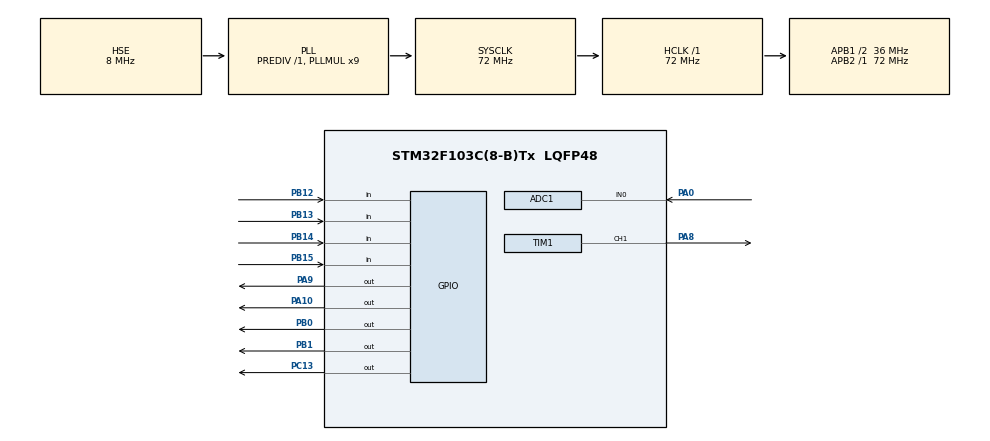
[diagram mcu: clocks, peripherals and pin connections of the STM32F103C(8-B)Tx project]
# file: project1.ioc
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ADC1.Channel-0\#ChannelRegularConversion=ADC_CHANNEL_0
ADC1.NbrOfConversionFlag=1
ADC1.Rank-0\#ChannelRegularConversion=1
ADC1.SamplingTime-0\#ChannelRegularConversion=ADC_SAMPLETIME_1CYCLE_5
ADC1.master=1
Mcu.Family=STM32F1
Mcu.Name=STM32F103C(8-B)Tx
Mcu.Package=LQFP48
NVIC.PriorityGroup=NVIC_PRIORITYGROUP_4
NVIC.TIM2_IRQn=true\:0\:0\:false\:false\:true\:true\:true\:true
PA0-WKUP.Signal=ADCx_IN0
PA10.GPIO_PuPd=GPIO_PULLDOWN
PA10.PinState=GPIO_PIN_RESET
PA10.Signal=GPIO_Output
PA13.Mode=Serial_Wire
PA13.Signal=SYS_JTMS-SWDIO
PA14.Mode=Serial_Wire
PA14.Signal=SYS_JTCK-SWCLK
PA8.Signal=S_TIM1_CH1
PA9.GPIO_PuPd=GPIO_PULLDOWN
PA9.PinState=GPIO_PIN_SET
PA9.Signal=GPIO_Output
PB0.GPIO_ModeDefaultOutputPP=GPIO_MODE_OUTPUT_OD
PB0.GPIO_PuPd=GPIO_NOPULL
PB0.Signal=GPIO_Output
PB1.GPIO_ModeDefaultOutputPP=GPIO_MODE_OUTPUT_OD
PB1.GPIO_PuPd=GPIO_NOPULL
PB1.Signal=GPIO_Output
PB12.GPIO_PuPd=GPIO_PULLUP
PB12.Signal=GPIO_Input
PB13.GPIO_PuPd=GPIO_PULLUP
PB13.Signal=GPIO_Input
PB14.GPIO_PuPd=GPIO_PULLUP
PB14.Signal=GPIO_Input
PB15.GPIO_PuPd=GPIO_PULLUP
PB15.Signal=GPIO_Input
PC13-TAMPER-RTC.GPIO_PuPd=GPIO_PULLUP
PC13-TAMPER-RTC.PinState=GPIO_PIN_RESET
PC13-TAMPER-RTC.Signal=GPIO_Output
PD0-OSC_IN.Mode=HSE-External-Oscillator
PD0-OSC_IN.Signal=RCC_OSC_IN
PD1-OSC_OUT.Mode=HSE-External-Oscillator
PD1-OSC_OUT.Signal=RCC_OSC_OUT
ProjectManager.HeapSize=0x200
ProjectManager.StackSize=0x400
ProjectManager.TargetToolchain=STM32CubeIDE
RCC.ADCPresc=RCC_ADCPCLK2_DIV6
RCC.AHBFreq_Value=72000000
RCC.APB1CLKDivider=RCC_HCLK_DIV2
RCC.APB1Freq_Value=36000000
RCC.APB1TimFreq_Value=72000000
RCC.APB2Freq_Value=72000000
RCC.APB2TimFreq_Value=72000000
RCC.HCLKFreq_Value=72000000
RCC.PLLMUL=RCC_PLL_MUL9
RCC.PLLSourceVirtual=RCC_PLLSOURCE_HSE
RCC.SYSCLKFreq_VALUE=72000000
RCC.SYSCLKSource=RCC_SYSCLKSOURCE_PLLCLK
RCC.USBFreq_Value=72000000
SH.ADCx_IN0.0=ADC1_IN0,IN0
SH.S_TIM1_CH1.0=TIM1_CH1,PWM Generation1 CH1
TIM1.AutoReloadPreload=TIM_AUTORELOAD_PRELOAD_ENABLE
TIM1.Channel-PWM\ Generation1\ CH1=TIM_CHANNEL_1
TIM1.Period=99-1
TIM1.Prescaler=72 -1
TIM2.Period=10 -1
TIM2.Prescaler=7200 -1
VP_TIM2_VS_ClockSourceINT.Mode=Internal
board=custom

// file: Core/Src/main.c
/* USER CODE BEGIN Header */
/**
  ******************************************************************************
  * @file           : main.c
  * @brief          : Main program body
  ******************************************************************************
  * @attention
  *
  * Copyright (c) 2024 STMicroelectronics.
  * All rights reserved.
  *
  * This software is licensed under terms that can be found in the LICENSE file
  * in the root directory of this software component.
  * If no LICENSE file comes with this software, it is provided AS-IS.
  *
  ******************************************************************************
  */
/* USER CODE END Header */
#include "main.h"
#include "adc.h"
#include "tim.h"
#include "gpio.h"

/* USER CODE BEGIN Includes */
#include <stdio.h>

#include "OLED.h"
/* USER CODE END Includes */

/* USER CODE BEGIN PV */
struct
{
  double kp;
  double target;

  double kd;
  double err;
  double err_last;

  double ki;
  double inte;
  double inte_max;

  double deadzone;

}PID_data;

char str1[16];
char str2[16];
char str3[16];
char str4[16];
char str5[16];
int16_t test1 ;
float TargetVol;
float CurrentVol;
float CurrentPWM;
float value;
int8_t BuckState;
int8_t ProtectState;
/* USER CODE END PV */

void SystemClock_Config(void);

/* USER CODE BEGIN 0 */
void HAL_TIM_PeriodElapsedCallback(TIM_HandleTypeDef *htim)
{
  //0.001s一次
  if (htim->Instance == TIM2)
  {
    //设置占空比
    __HAL_TIM_SET_COMPARE(&htim1, TIM_CHANNEL_1,CurrentPWM);//左
    //采集电压
    HAL_ADC_Start(&hadc1);
    HAL_ADC_PollForConversion(&hadc1, 1000);
    value = HAL_ADC_GetValue(&hadc1);
    //三元线性拟合
    CurrentVol = 0.812*(value /100)+0.000395*(value /100)*(value /100)-0.0000295*(value /100)*(value /100)*(value /100)+0.5945;

    //误差值计算
    PID_data.err = TargetVol - CurrentVol;
    //判断死区，防乱跳
    if (PID_data.err>=PID_data.deadzone||PID_data.err<=-PID_data.deadzone)
    {
      //使只当激活继电器时调节pid，不然关闭继电器后pwm马上会到最高
      if (ProtectState == 1)
      {
        //增量式pid调节
        CurrentPWM += PID_data.err * PID_data.kp;

      }

    }

    //限幅pwm
    if (CurrentPWM > 98)
    {
      CurrentPWM = 98;
    }
    else if (CurrentPWM < 0)
    {
      CurrentPWM = 0;
    }

    //限幅输出电压，保护adc采集引脚
    if (TargetVol > 33.0f)
    {
      TargetVol = 33.0f;
    }
    else if (TargetVol < 0.0f)
    {
      TargetVol = 0.0f;
    }

    //闪灯（虽然1khz看不出来。。。）
    HAL_GPIO_TogglePin(GPIOC, GPIO_PIN_13);
  }

}
/* USER CODE END 0 */

int main(void)
{

  /* MCU Configuration--------------------------------------------------------*/

  /* Reset of all peripherals, Initializes the Flash interface and the Systick. */
  HAL_Init();

  /* Configure the system clock */
  SystemClock_Config();

  /* Initialize all configured peripherals */
  MX_GPIO_Init();
  MX_TIM1_Init();
  MX_TIM2_Init();
  MX_ADC1_Init();
  /* USER CODE BEGIN 2 */
  HAL_TIM_Base_Start_IT(&htim2);
  HAL_TIM_PWM_Start(&htim1, TIM_CHANNEL_1);
  OLED_Init();
  OLED_Clear();

  //初始参数设置
  TargetVol = 5;
  CurrentVol = 0;
  CurrentPWM = 50;
  BuckState = 0;
  ProtectState = 0;

  PID_data.kp = 1.0;
  PID_data.deadzone =0.10;

  /* USER CODE END 2 */

  /* Infinite loop */
  /* USER CODE BEGIN WHILE */
  while (1)
  {

    //reset低0

    //mode按键控制继电器
    if (HAL_GPIO_ReadPin(GPIOB, GPIO_PIN_15)==RESET)
    {
      HAL_Delay(10);
       while(HAL_GPIO_ReadPin(GPIOB, GPIO_PIN_15)==RESET);
      ProtectState = ProtectState==1?0:1 ;
    }
    //激活继电器，开始降压
     if (ProtectState == 0)
     {
       HAL_GPIO_WritePin(GPIOA, GPIO_PIN_10,GPIO_PIN_RESET);
     }
     else if (ProtectState == 1)
     {
       HAL_GPIO_WritePin(GPIOA, GPIO_PIN_10,GPIO_PIN_SET);
     }

      //手动更改目标电压值
    //pb12加
    if (HAL_GPIO_ReadPin(GPIOB, GPIO_PIN_12)==RESET)
    {
      HAL_Delay(10);
      while(HAL_GPIO_ReadPin(GPIOB, GPIO_PIN_12)==RESET);
      TargetVol = TargetVol + 0.2;
    }
    //pb13减
    if (HAL_GPIO_ReadPin(GPIOB, GPIO_PIN_13)==RESET)
    {
      HAL_Delay(10);
      while(HAL_GPIO_ReadPin(GPIOB, GPIO_PIN_13)==RESET);
      TargetVol = TargetVol - 0.2;
    }

    //此为栅极驱动使能引脚当前电平状态，貌似没什么用
    BuckState = HAL_GPIO_ReadPin(GPIOA, GPIO_PIN_9);

    sprintf(str1,"%.2f\n",TargetVol);
    sprintf(str2,"%.2f\n",CurrentVol);
    sprintf(str3,"%.2f\n",CurrentPWM);
    sprintf(str4,"%d\n",BuckState);
    // sprintf(str4,"%.2f\n",PID_data.err);
    sprintf(str5,"%d\n",ProtectState);

    OLED_ShowString(1,1,"TargetVol",OLED_6X8);
    OLED_ShowString(1,13,"CurrentVol",OLED_6X8);
    OLED_ShowString(1,26,"CurrentPWM",OLED_6X8);
    OLED_ShowString(1,39,"BuckState",OLED_6X8);
    // OLED_ShowString(1,39,"Test",OLED_6X8);
    OLED_ShowString(1,52,"ProtectState",OLED_6X8);

    OLED_ShowString(79,1,str1,OLED_6X8);
    OLED_ShowString(79,13,str2,OLED_6X8);
    OLED_ShowString(79,26,str3,OLED_6X8);
    OLED_ShowString(79,39,str4,OLED_6X8);
    OLED_ShowString(79,52,str5,OLED_6X8);

    OLED_Update();

    //限制oled刷新速度
    HAL_Delay(10);
    /* USER CODE END WHILE */

  }
}

void SystemClock_Config(void)
{
  RCC_OscInitTypeDef RCC_OscInitStruct = {0};
  RCC_ClkInitTypeDef RCC_ClkInitStruct = {0};
  RCC_PeriphCLKInitTypeDef PeriphClkInit = {0};

  /** Initializes the RCC Oscillators according to the specified parameters
  * in the RCC_OscInitTypeDef structure.
  */
  RCC_OscInitStruct.OscillatorType = RCC_OSCILLATORTYPE_HSE;
  RCC_OscInitStruct.HSEState = RCC_HSE_ON;
  RCC_OscInitStruct.HSEPredivValue = RCC_HSE_PREDIV_DIV1;
  RCC_OscInitStruct.HSIState = RCC_HSI_ON;
  RCC_OscInitStruct.PLL.PLLState = RCC_PLL_ON;
  RCC_OscInitStruct.PLL.PLLSource = RCC_PLLSOURCE_HSE;
  RCC_OscInitStruct.PLL.PLLMUL = RCC_PLL_MUL9;
  if (HAL_RCC_OscConfig(&RCC_OscInitStruct) != HAL_OK)
  {
    Error_Handler();
  }

  /** Initializes the CPU, AHB and APB buses clocks
  */
  RCC_ClkInitStruct.ClockType = RCC_CLOCKTYPE_HCLK|RCC_CLOCKTYPE_SYSCLK
                              |RCC_CLOCKTYPE_PCLK1|RCC_CLOCKTYPE_PCLK2;
  RCC_ClkInitStruct.SYSCLKSource = RCC_SYSCLKSOURCE_PLLCLK;
  RCC_ClkInitStruct.AHBCLKDivider = RCC_SYSCLK_DIV1;
  RCC_ClkInitStruct.APB1CLKDivider = RCC_HCLK_DIV2;
  RCC_ClkInitStruct.APB2CLKDivider = RCC_HCLK_DIV1;

  if (HAL_RCC_ClockConfig(&RCC_ClkInitStruct, FLASH_LATENCY_2) != HAL_OK)
  {
    Error_Handler();
  }
  PeriphClkInit.PeriphClockSelection = RCC_PERIPHCLK_ADC;
  PeriphClkInit.AdcClockSelection = RCC_ADCPCLK2_DIV6;
  if (HAL_RCCEx_PeriphCLKConfig(&PeriphClkInit) != HAL_OK)
  {
    Error_Handler();
  }
}

void Error_Handler(void)
{
  __disable_irq();
  while (1)
  {
  }
}
